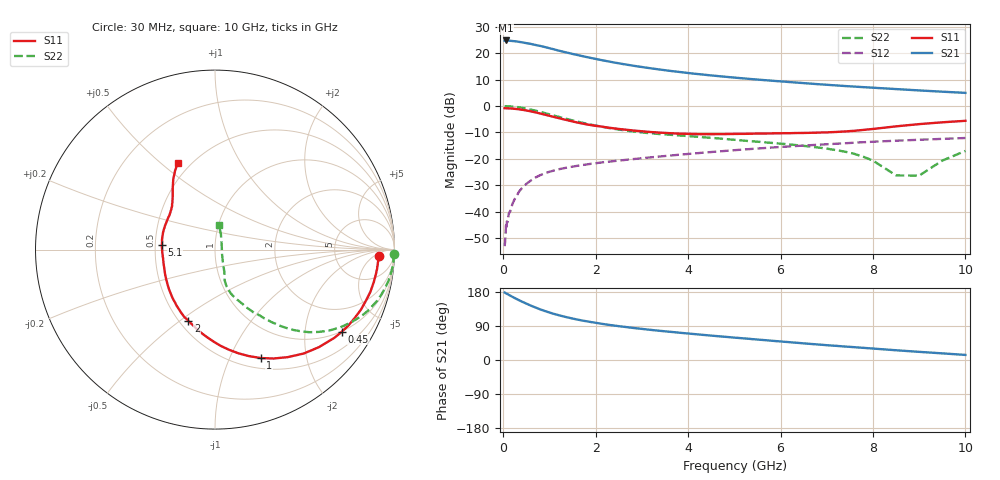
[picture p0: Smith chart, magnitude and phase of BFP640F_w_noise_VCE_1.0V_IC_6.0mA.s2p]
! Infineon Technologies  Discrete & RF Semiconductors
! BFP640F
! VCE =  1.0 V,  IC =  6.0 mA
! Common Emitter S-Parameters:  Apr 2013
# GHz  S  MA  R  50
!  f  S11  S21  S12  S22
! GHz  MAG  ANG  MAG  ANG  MAG  ANG  MAG  ANG
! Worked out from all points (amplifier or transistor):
!   99 points, 30 MHz to 10 GHz, reference 50 ohm
!   highest |S21| = 24.9 dB at 50 MHz (marker M1)
!   |S21| within 3 dB of that: start of sweep to 1.012 GHz
!   unconditionally stable (mu >= 1): 4.175 GHz to end of sweep
!   at 350 MHz: K = 0.11, MSG = 28.3 dB, |S12| = -32.3 dB
!   at 3.5 GHz: K = 0.95, MSG = 16.3 dB, |S12| = -18.9 dB
!   at 10 GHz: K = 1.09, MAG = 6.7 dB, |S12| = -12.1 dB
!   lowest NFmin = 0.54 dB at 450 MHz
!   S11 on the Smith chart (normalised r, x): 30 MHz: 19, -8; 450 MHz: 0.99, -3.10; 1 GHz: 0.62, -1.31; 2 GHz: 0.56, -0.54; 5.1 GHz: 0.54, +0.03; 10 GHz: 0.43, +0.57
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0.03  0.9136 -2.2  17.37 178.0  0.0022 93.1  0.9976 -1.4
0.05  0.912 -3.8  17.62 176.9  0.0037 84.2  0.9969 -2.5
0.12  0.9058 -9.2  17.57 171.9  0.0092 85.7  0.9927 -6.2
0.25  0.8876 -18.8  17.02 163.5  0.0174 80.0  0.9722 -12.6
0.35  0.8672 -25.9  16.53 157.3  0.0244 78.0  0.9477 -17.5
0.45  0.842 -32.9  15.96 151.6  0.0303 73.6  0.9167 -21.9
0.6  0.7941 -43.2  15.13 143.4  0.0389 69.4  0.8586 -28.3
0.7  0.7613 -49.5  14.45 138.5  0.0442 66.5  0.8198 -32.0
0.8  0.7235 -55.9  13.88 133.6  0.0489 63.7  0.7791 -35.4
1  0.6553 -67.2  12.55 125.3  0.0568 59.3  0.6987 -41.2
1.3  0.5632 -82.1  10.77 115.1  0.066 54.7  0.5935 -47.5
1.5  0.512 -91.0  9.783 109.4  0.0711 52.6  0.5353 -50.7
1.7  0.47 -99.4  8.938 104.4  0.076 50.9  0.4872 -53.3
2  0.4225 -110.7  7.861 98.2  0.0824 49.2  0.4284 -57.0
2.6  0.3613 -130.3  6.267 87.8  0.0945 46.8  0.3497 -62.5
3.4  0.3136 -151.4  4.931 76.9  0.1109 45.1  0.2943 -67.2
4.2  0.2945 -168.6  4.068 67.7  0.1279 43.0  0.2622 -69.9
5.1  0.2972 174.7  3.417 58.1  0.1479 40.1  0.2263 -72.0
6.7  0.3128 148.5  2.652 42.0  0.1825 33.5  0.168 -71.8
8.5  0.413 124.8  2.106 25.7  0.2208 24.8  0.0484 -35.3
9  0.4556 120.7  1.985 21.5  0.2299 22.2  0.048 39.3
10  0.5263 113.2  1.784 13.4  0.2484 17.2  0.1411 81.4
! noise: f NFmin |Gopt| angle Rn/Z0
0.45  0.54  0.33  8  0.09
0.9  0.55  0.33  19  0.1
1.5  0.59  0.31  27  0.1
1.9  0.61  0.29  43  0.11
2.4  0.65  0.27  56  0.11
3.5  0.75  0.23  79  0.13
5.5  0.97  0.18  155  0.16
10  1.63  0.43  -103  0.34
